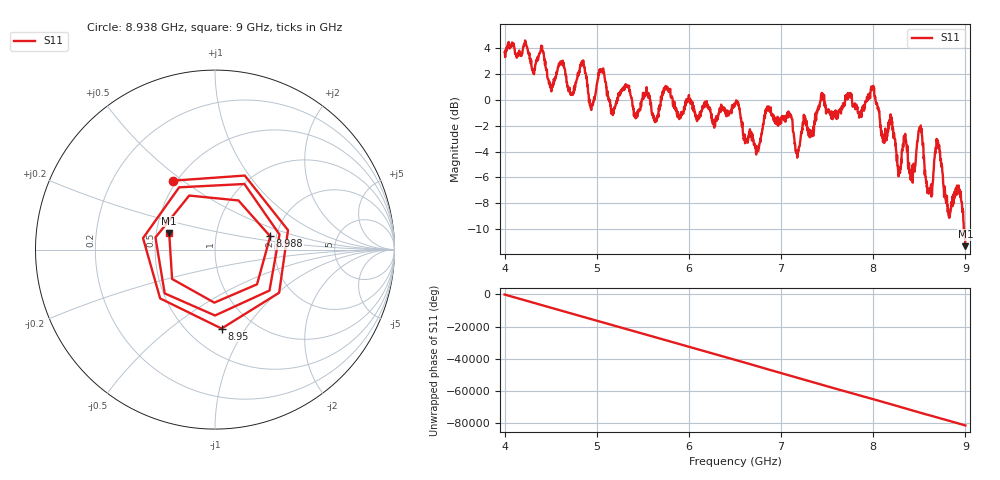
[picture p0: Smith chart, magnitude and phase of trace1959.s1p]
! Created with skrf 1.8.0 (http://scikit-rf.org).
# Hz S RI R 50.0
!freq ReS11 ImS11
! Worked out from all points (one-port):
!   1601 points, 4 GHz to 9 GHz, reference 50 ohm
!   lowest |S11| = -11.3 dB at 9 GHz (marker M1), VSWR 1.74, Z = 29.2 + j5.83 ohm
!   |S11| at or under -10 dB: 8.982684 GHz to 8.987907 GHz (5.223 MHz wide, 0.0581 % of centre); 8.988072 GHz to end of sweep
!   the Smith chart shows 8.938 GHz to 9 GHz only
!   S11 on the Smith chart (normalised r, x): 8.938 GHz: 0.48, +0.46; 8.95 GHz: 0.72, -0.78; 8.988 GHz: 1.86, +0.30; 9 GHz: 0.58, +0.12
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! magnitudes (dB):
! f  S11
! 4 GHz  3.7
! 4.625 GHz  2.8
! 4.725 GHz  0.4
! 4.847 GHz  2.9
! 4.941 GHz  -0.8
! 5.044 GHz  2.2
! 5.172 GHz  -1.1
! 5.25 GHz  0.4
! 5.875 GHz  -0.9
! 6.5 GHz  -0.3
! 6.738 GHz  -3.8
! 6.853 GHz  -0.8
! 7.125 GHz  -1.8
! 7.178 GHz  -4.3
! 7.444 GHz  0.4
! 7.75 GHz  0.5
! 7.997 GHz  0.9
! 8.275 GHz  -5.9
! 8.375 GHz  -4.5
! 8.428 GHz  -6.4
! 8.509 GHz  -2.2
! 8.606 GHz  -7.1
! 8.7 GHz  -3.5
! 8.812 GHz  -8.4
! 8.938 GHz  -6.9
! 8.95 GHz  -7.1
! 8.988 GHz  -10.0
! 9 GHz  -11.3
